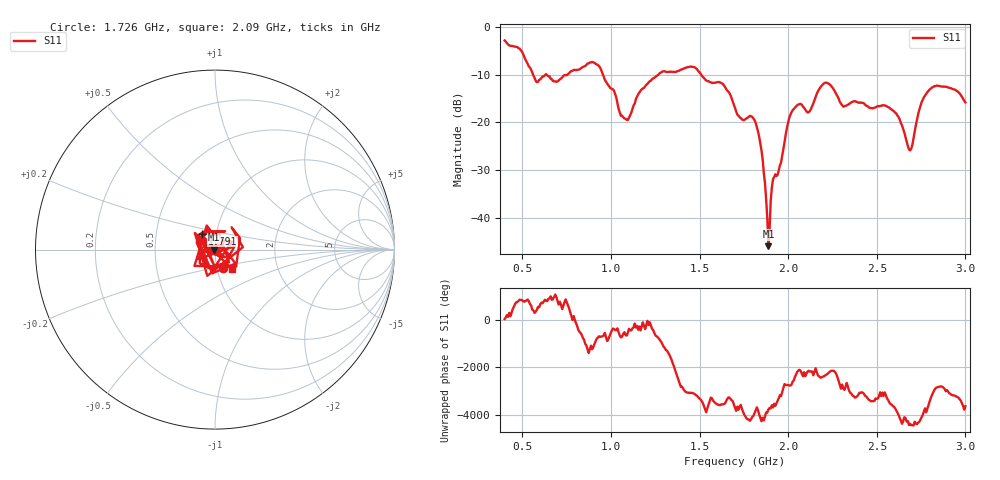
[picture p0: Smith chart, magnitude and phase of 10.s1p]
!Created with skrf (http://scikit-rf.org).
# Hz S RI R 50.0
!freq ReS11 ImS11
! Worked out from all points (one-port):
!   401 points, 400 MHz to 3 GHz, reference 50 ohm
!   lowest |S11| = -46.0 dB at 1.889 GHz (marker M1), VSWR 1.01, Z = 49.5 + j0.0071 ohm
!   |S11| at or under -10 dB: 636.4 MHz to 754.7 MHz (118.3 MHz wide, 17 % of centre); 954.6 MHz to 1.268 GHz (313.5 MHz wide, 28.2 % of centre); 1.509 GHz to end of sweep (the widest 3 of 4)
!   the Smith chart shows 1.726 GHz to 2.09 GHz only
!   S11 on the Smith chart (normalised r, x): 1.726 GHz: 1.06, -0.23; 1.791 GHz: 0.85, +0.15; 2.09 GHz: 1.18, -0.26
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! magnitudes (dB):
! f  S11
! 400 MHz  -2.8
! 491 MHz  -4.9
! 582 MHz  -11.6
! 725 MHz  -10.6
! 913.5 MHz  -7.7
! 1.05 GHz  -18.0
! 1.095 GHz  -19.5
! 1.226 GHz  -11.3
! 1.375 GHz  -9.3
! 1.466 GHz  -8.4
! 1.622 GHz  -11.8
! 1.7 GHz  -17.0
! 1.726 GHz  -19.0
! 1.791 GHz  -18.8
! 1.843 GHz  -24.5
! 1.889 GHz  -46.0
! 1.915 GHz  -31.9
! 2.025 GHz  -17.5
! 2.09 GHz  -17.0
! 2.123 GHz  -17.6
! 2.213 GHz  -11.7
! 2.35 GHz  -16.0
! 2.584 GHz  -17.3
! 2.675 GHz  -24.9
! 2.695 GHz  -25.6
! 2.753 GHz  -15.8
! 2.812 GHz  -12.7
! 3 GHz  -15.8
